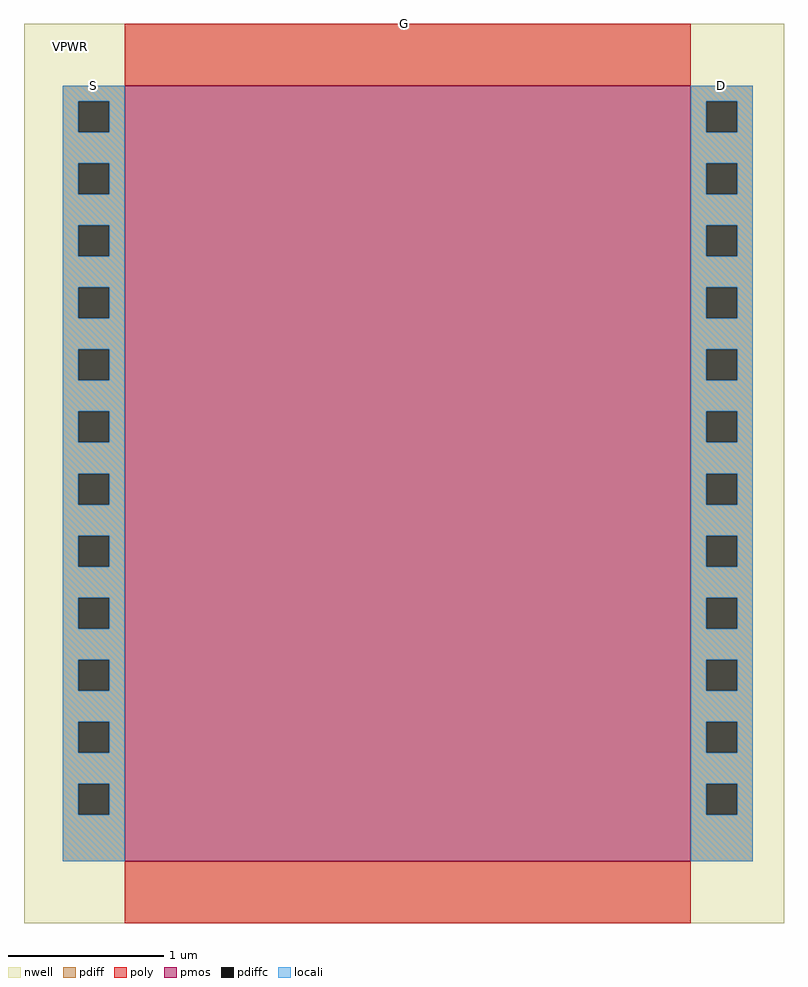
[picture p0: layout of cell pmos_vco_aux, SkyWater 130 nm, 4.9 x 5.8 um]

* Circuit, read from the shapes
.subckt pmos_vco_aux D G S VPWR
XM1 D G S VPWR sky130_fd_pr__pfet_01v8 w=5 l=3.65
.ends

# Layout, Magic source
magic
tech sky130A
<< nwell >>
rect -65 -40 425 540
<< pmos >>
rect 0 0 365 500
<< pdiff >>
rect -40 490 0 500
rect -40 470 -30 490
rect -10 470 0 490
rect -40 450 0 470
rect -40 430 -30 450
rect -10 430 0 450
rect -40 410 0 430
rect -40 390 -30 410
rect -10 390 0 410
rect -40 370 0 390
rect -40 350 -30 370
rect -10 350 0 370
rect -40 330 0 350
rect -40 310 -30 330
rect -10 310 0 330
rect -40 290 0 310
rect -40 270 -30 290
rect -10 270 0 290
rect -40 250 0 270
rect -40 230 -30 250
rect -10 230 0 250
rect -40 210 0 230
rect -40 190 -30 210
rect -10 190 0 210
rect -40 170 0 190
rect -40 150 -30 170
rect -10 150 0 170
rect -40 130 0 150
rect -40 110 -30 130
rect -10 110 0 130
rect -40 90 0 110
rect -40 70 -30 90
rect -10 70 0 90
rect -40 50 0 70
rect -40 30 -30 50
rect -10 30 0 50
rect -40 0 0 30
rect 365 490 405 500
rect 365 470 375 490
rect 395 470 405 490
rect 365 450 405 470
rect 365 430 375 450
rect 395 430 405 450
rect 365 410 405 430
rect 365 390 375 410
rect 395 390 405 410
rect 365 370 405 390
rect 365 350 375 370
rect 395 350 405 370
rect 365 330 405 350
rect 365 310 375 330
rect 395 310 405 330
rect 365 290 405 310
rect 365 270 375 290
rect 395 270 405 290
rect 365 250 405 270
rect 365 230 375 250
rect 395 230 405 250
rect 365 210 405 230
rect 365 190 375 210
rect 395 190 405 210
rect 365 170 405 190
rect 365 150 375 170
rect 395 150 405 170
rect 365 130 405 150
rect 365 110 375 130
rect 395 110 405 130
rect 365 90 405 110
rect 365 70 375 90
rect 395 70 405 90
rect 365 50 405 70
rect 365 30 375 50
rect 395 30 405 50
rect 365 0 405 30
<< pdiffc >>
rect -30 470 -10 490
rect -30 430 -10 450
rect -30 390 -10 410
rect -30 350 -10 370
rect -30 310 -10 330
rect -30 270 -10 290
rect -30 230 -10 250
rect -30 190 -10 210
rect -30 150 -10 170
rect -30 110 -10 130
rect -30 70 -10 90
rect -30 30 -10 50
rect 375 470 395 490
rect 375 430 395 450
rect 375 390 395 410
rect 375 350 395 370
rect 375 310 395 330
rect 375 270 395 290
rect 375 230 395 250
rect 375 190 395 210
rect 375 150 395 170
rect 375 110 395 130
rect 375 70 395 90
rect 375 30 395 50
<< poly >>
rect 0 500 365 540
rect 0 -40 365 0
<< locali >>
rect -40 490 0 500
rect -40 470 -30 490
rect -10 470 0 490
rect -40 450 0 470
rect -40 430 -30 450
rect -10 430 0 450
rect -40 410 0 430
rect -40 390 -30 410
rect -10 390 0 410
rect -40 370 0 390
rect -40 350 -30 370
rect -10 350 0 370
rect -40 330 0 350
rect -40 310 -30 330
rect -10 310 0 330
rect -40 290 0 310
rect -40 270 -30 290
rect -10 270 0 290
rect -40 250 0 270
rect -40 230 -30 250
rect -10 230 0 250
rect -40 210 0 230
rect -40 190 -30 210
rect -10 190 0 210
rect -40 170 0 190
rect -40 150 -30 170
rect -10 150 0 170
rect -40 130 0 150
rect -40 110 -30 130
rect -10 110 0 130
rect -40 90 0 110
rect -40 70 -30 90
rect -10 70 0 90
rect -40 50 0 70
rect -40 30 -30 50
rect -10 30 0 50
rect -40 0 0 30
rect 365 490 405 500
rect 365 470 375 490
rect 395 470 405 490
rect 365 450 405 470
rect 365 430 375 450
rect 395 430 405 450
rect 365 410 405 430
rect 365 390 375 410
rect 395 390 405 410
rect 365 370 405 390
rect 365 350 375 370
rect 395 350 405 370
rect 365 330 405 350
rect 365 310 375 330
rect 395 310 405 330
rect 365 290 405 310
rect 365 270 375 290
rect 395 270 405 290
rect 365 250 405 270
rect 365 230 375 250
rect 395 230 405 250
rect 365 210 405 230
rect 365 190 375 210
rect 395 190 405 210
rect 365 170 405 190
rect 365 150 375 170
rect 395 150 405 170
rect 365 130 405 150
rect 365 110 375 130
rect 395 110 405 130
rect 365 90 405 110
rect 365 70 375 90
rect 395 70 405 90
rect 365 50 405 70
rect 365 30 375 50
rect 395 30 405 50
rect 365 0 405 30
<< labels >>
rlabel locali 385 500 385 500 1 D
port 1 n
rlabel poly 180 540 180 540 1 G
port 2 n
rlabel locali -20 500 -20 500 1 S
port 3 n
rlabel nwell -35 525 -35 525 1 VPWR
port 4 n
<< end >>
